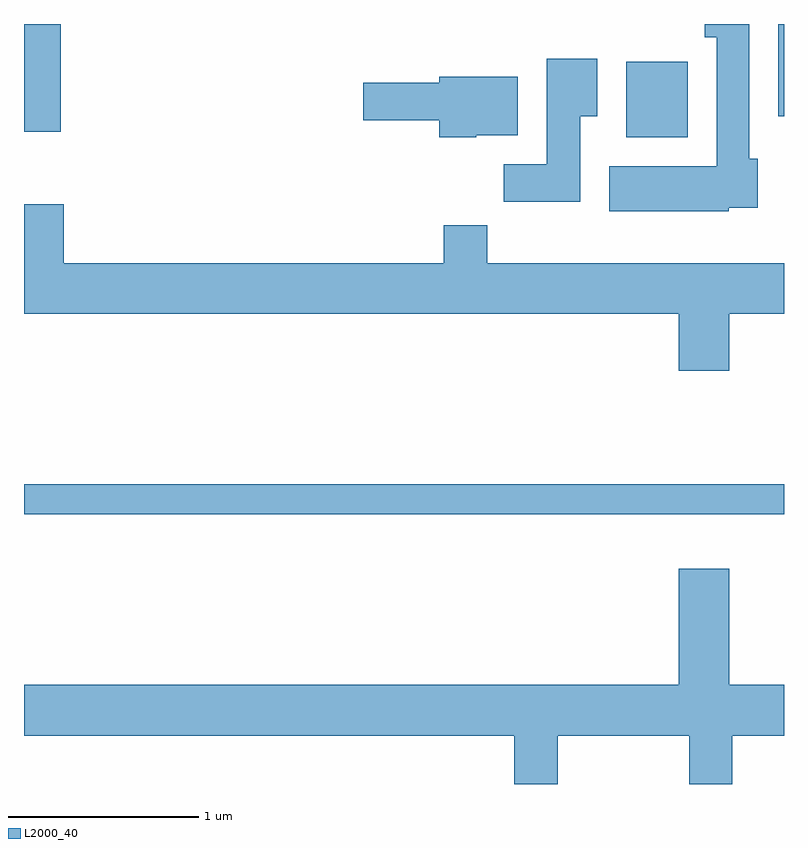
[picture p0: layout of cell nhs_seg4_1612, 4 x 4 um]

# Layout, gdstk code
import gdstk
lib = gdstk.Library(unit=1e-6, precision=1e-09)
def R(c, l, rs):  # rectangles x0, y0, x1, y1
    for r in rs: c.add(gdstk.rectangle(r[:2], r[2:], *l))
def P(c, l, *ps):  # polygons
    for p in ps: c.add(gdstk.Polygon(p, *l))
L2000_40 = (2000, 40)

nhs_seg4_1612 = lib.new_cell('nhs_seg4_1612')
R(nhs_seg4_1612, L2000_40, [(231.611,1351.401,235.611,1351.559), (234.781,1353.386,235.104,1353.784), (231.611,1353.416,231.804,1353.982), (235.581,1353.496,235.611,1353.982)])
P(nhs_seg4_1612, L2000_40, [(235.319,1353.016),(235.474,1353.016),(235.474,1353.274),(235.429,1353.274),(235.429,1353.982),(235.193,1353.982),(235.193,1353.911),(235.256,1353.911),(235.256,1353.234),(234.691,1353.234),(234.691,1352.996),(235.319,1352.996)],
  [(234.539,1353.496),(234.629,1353.496),(234.629,1353.799),(234.361,1353.799),(234.361,1353.244),(234.136,1353.244),(234.136,1353.046),(234.539,1353.046)],
  [(233.99,1353.396),(234.209,1353.396),(234.209,1353.704),(233.796,1353.704),(233.796,1353.674),(233.396,1353.674),(233.396,1353.476),(233.796,1353.476),(233.796,1353.386),(233.99,1353.386)],
  [(235.324,1352.456),(235.611,1352.456),(235.611,1352.724),(234.049,1352.724),(234.049,1352.924),(233.821,1352.924),(233.821,1352.724),(231.819,1352.724),(231.819,1353.034),(231.611,1353.034),(231.611,1352.456),(235.056,1352.456),(235.056,1352.156),(235.324,1352.156)],
  [(234.419,1350.236),(235.111,1350.236),(235.111,1349.982),(235.339,1349.982),(235.339,1350.236),(235.611,1350.236),(235.611,1350.504),(235.324,1350.504),(235.324,1351.114),(235.056,1351.114),(235.056,1350.504),(231.611,1350.504),(231.611,1350.236),(234.191,1350.236),(234.191,1349.982),(234.419,1349.982)])

lib.write_gds('nhs_seg4_1612.gds')
